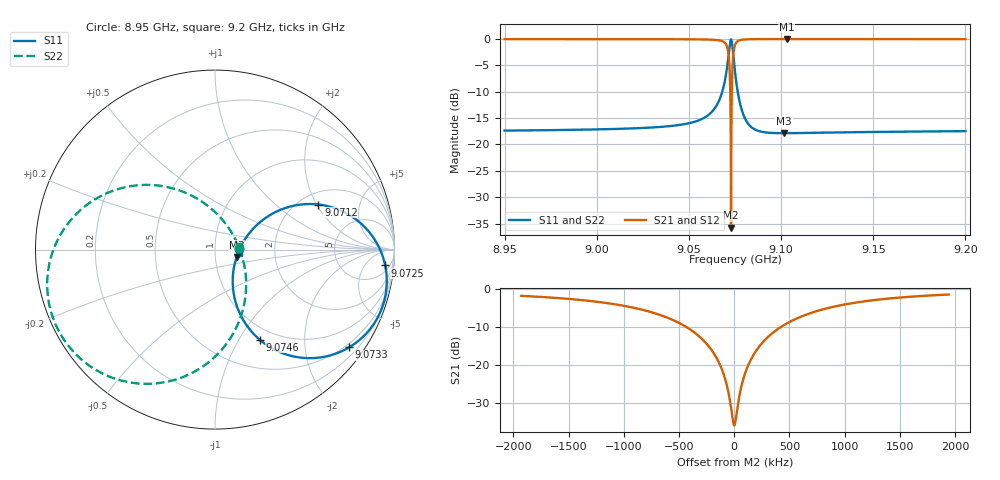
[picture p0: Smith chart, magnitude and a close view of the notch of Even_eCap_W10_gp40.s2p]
! Sonnet Data File
! From: emgraph Version : 16.52
! From Project: Resonator2_extremeCap
! Data is De-embedded
! Data File Written: 10/11/2017 17:55:28
!< HDATE 10/10/2017 20:37:37
!< MDATE 10/10/2017 20:37:37
!< PARAMS
!< Pwid1 = 2000.0
!< Pwid2 = 2000.0
!< Air_gap = 6.0
!< Width = 10.0
!< Gap = 40.0
!< END PARAMS
# GHZ S MA R 50.70000
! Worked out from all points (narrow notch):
!   1845 points, 8.95 GHz to 9.2 GHz, reference 50.7 ohm
!   highest |S21| = -0.07 dB at 9.103 GHz (marker M1); lowest = -35.8 dB at 9.0729 GHz (marker M2)
!   notch at M2: 35.7 dB deep, 325 kHz wide at half that depth
!   lowest |S11| = -17.9 dB at 9.1016 GHz (marker M3), VSWR 1.29, Z = 64.3 - j5.5 ohm
!   |S11| at or under -10 dB: start of sweep to 9.0681 GHz; 9.0764 GHz to end of sweep
!   |S22| runs from -17.9 to -0.2 dB; largest |S21 - S12| = 0
!   S11 on the Smith chart (normalised r, x): 8.95 GHz: 1.31, +0.01; 9.0712 GHz: 2.49, +2.07; 9.0725 GHz: 9, -17; 9.0733 GHz: 0.40, -3.02; 9.0746 GHz: 0.84, -1.23; 9.2 GHz: 1.30, -0.05
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8.95  0.1349 2.2  0.9909 -87.5  0.9909 -87.5  0.1349 2.7
!< P1 F=8.95 Eeff=(6.4467035 -2.972e-5) Z0=(51.7988068 1.1952e-4) R=0.0 C=0.0
!< P2 F=8.95 Eeff=(6.4467035 -2.972e-5) Z0=(51.7988068 1.1952e-4) R=0.0 C=0.0
8.9918  0.1377 3.5  0.9905 -88.3  0.9905 -88.3  0.1376 0.0
9.0334  0.1457 7.9  0.9893 -89.6  0.9893 -89.6  0.1457 -7.1
9.0634  0.2121 25.6  0.977 -95.6  0.977 -95.6  0.2118 -36.9
9.068987  0.3628 32.1  0.9304 -105.8  0.9304 -105.8  0.3617 -64.2
9.0712  0.6287 23.6  0.7711 -124.1  0.7711 -124.1  0.6264 -93.0
9.072  0.8288 9.9  0.5426 -141.3  0.5426 -141.3  0.8255 -115.1
9.072504  0.9524 -5.3  0.2595 -157.3  0.2595 -157.3  0.9484 -136.0
9.072723  0.9809 -13.4  0.1004 -160.9  0.1004 -160.9  0.9768 -146.7
9.072851  0.9857 -18.4  0.01627 -86.2  0.01627 -86.2  0.9815 -153.1
9.073001  0.9788 -24.3  0.1177 -10.5  0.1177 -10.5  0.9746 -160.8
9.073314  0.9249 -36.0  0.3449 -18.7  0.3449 -18.7  0.9209 -176.2
9.073828  0.7747 -51.1  0.6176 -35.6  0.6176 -35.6  0.7712 162.5
9.074623  0.5602 -63.6  0.8224 -52.5  0.8224 -52.5  0.5576 139.9
9.075  0.4862 -66.5  0.8695 -57.6  0.8695 -57.6  0.4839 132.3
9.07741  0.2577 -66.5  0.9652 -72.8  0.9652 -72.8  0.2565 101.3
9.082407  0.1546 -48.3  0.9877 -80.8  0.9877 -80.8  0.1541 66.7
9.1016  0.1276 -19.2  0.9918 -86.0  0.9918 -86.0  0.1275 27.3
9.103  0.1276 -18.5  0.9918 -86.1  0.9918 -86.1  0.1275 26.2
9.1168  0.1285 -13.5  0.9917 -87.0  0.9917 -87.0  0.1285 19.5
9.1584  0.1315 -8.7  0.9913 -88.2  0.9913 -88.2  0.1315 12.3
9.2  0.1333 -7.4  0.9911 -88.9  0.9911 -88.9  0.1333 9.6
